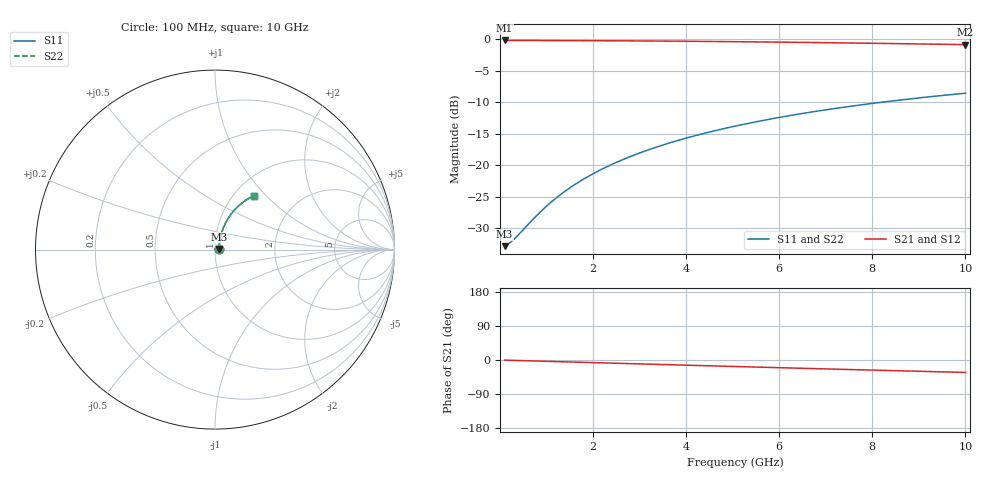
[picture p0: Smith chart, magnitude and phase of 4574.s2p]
# Hz S RI R 50.00
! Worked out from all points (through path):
!   100 points, 100 MHz to 10 GHz, reference 50 ohm
!   highest |S21| = -0.20 dB at 100 MHz (marker M1); lowest = -0.9 dB at 10 GHz (marker M2)
!   group delay of S21, straight-line fit = 9.14 ps
!   lowest |S11| = -32.8 dB at 100 MHz (marker M3), VSWR 1.05, Z = 52.3 + j0.42 ohm
!   |S11| at or under -10 dB: start of sweep to 8.202 GHz
!   |S22| runs from -32.8 to -8.6 dB; largest |S21 - S12| = 0
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1e8  0.0225 0.00401  0.9775 -0.00588  0.9775 -0.00588  0.0225 0.00401
2e8  0.0227 0.00801  0.9773 -0.0118  0.9773 -0.0118  0.0227 0.00801
3e8  0.0229 0.012  0.9771 -0.0176  0.9771 -0.0176  0.0229 0.012
8e8  0.0246 0.032  0.9753 -0.047  0.9753 -0.047  0.0246 0.032
9e8  0.025 0.0359  0.9748 -0.0528  0.9748 -0.0528  0.025 0.0359
1.1e9  0.0261 0.0439  0.9737 -0.0645  0.9737 -0.0645  0.0261 0.0439
1.4e9  0.028 0.0557  0.9716 -0.082  0.9716 -0.082  0.028 0.0557
1.6e9  0.0295 0.0635  0.97 -0.0935  0.97 -0.0935  0.0295 0.0635
1.8e9  0.0312 0.0713  0.9682 -0.1051  0.9682 -0.1051  0.0312 0.0713
2.1e9  0.034 0.0829  0.9652 -0.1223  0.9652 -0.1223  0.034 0.0829
2.5e9  0.0385 0.0981  0.9604 -0.145  0.9604 -0.145  0.0385 0.0981
2.9e9  0.0436 0.113  0.9549 -0.1675  0.9549 -0.1675  0.0436 0.113
3.4e9  0.051 0.1313  0.9469 -0.1951  0.9469 -0.1951  0.051 0.1313
3.8e9  0.0576 0.1455  0.9398 -0.2169  0.9398 -0.2169  0.0576 0.1455
4.2e9  0.0648 0.1593  0.932 -0.2382  0.932 -0.2382  0.0648 0.1593
4.6e9  0.0727 0.1726  0.9235 -0.2591  0.9235 -0.2591  0.0727 0.1726
5.1e9  0.0832 0.1887  0.912 -0.2846  0.912 -0.2846  0.0832 0.1887
5.9e9  0.1019 0.2128  0.8918 -0.3239  0.8918 -0.3239  0.1019 0.2128
6.7e9  0.1223 0.2348  0.8695 -0.361  0.8695 -0.361  0.1223 0.2348
7.5e9  0.1443 0.2545  0.8454 -0.396  0.8454 -0.396  0.1443 0.2545
8.4e9  0.1705 0.274  0.8165 -0.4327  0.8165 -0.4327  0.1705 0.274
1e10  0.2199 0.3012  0.7616 -0.4906  0.7616 -0.4906  0.2199 0.3012
